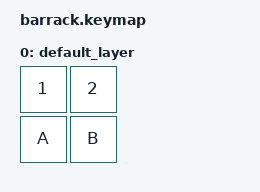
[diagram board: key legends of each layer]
#include <behaviors.dtsi>
#include <dt-bindings/zmk/keys.h>
#include <dt-bindings/zmk/bt.h>
#include <dt-bindings/zmk/mouse.h>

/ {
    keymap {
        compatible = "zmk,keymap";

        default_layer {
            bindings = <
                &kp N1 &kp N2
                &kp A  &kp B
            >;
        };
    };
 };
